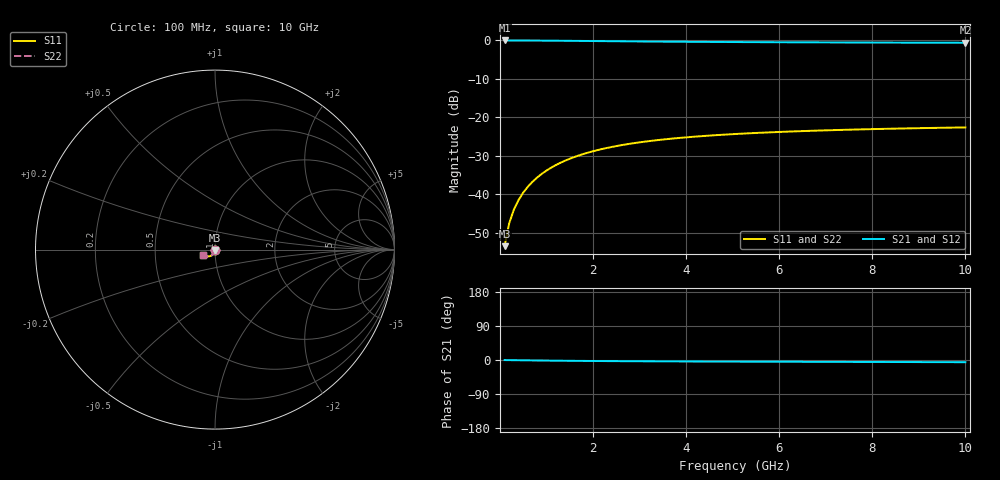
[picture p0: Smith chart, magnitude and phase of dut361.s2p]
! Touchstone file exported from HFSS 2024.1.0
!  File:  C:/UserFiles/LocalFiles/RDL_TSV_Batchsim/temp_TSV1_361_1779621059.aedt
!  Generated:  07:16:02 PM May 24, 2026
!  Design:  TSV1
!  Project:  temp_TSV1_361_1779621059
!  Setup:  Setup1
!  Solution:  Sweep
! Variables:
!  dtsv = 14.92um
!  hbump = 3um
!  htsv = 86.85um
!  lrdl = 252.1521522um
!  p = 40
!  p1 = 47.5um
!  t = 500um
!  trdl = 3um
!  wrdl = 24.89489489um
# GHz S MA R 50.000000
! Terminal data exported
! Port[1] = TSV22_T1
! Port[2] = TSV22_T2
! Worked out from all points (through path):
!   100 points, 100 MHz to 10 GHz, reference 50 ohm
!   highest |S21| = 0.00 dB at 100 MHz (marker M1); lowest = -0.6 dB at 10 GHz (marker M2)
!   lowest |S11| = -53.5 dB at 100 MHz (marker M3), VSWR 1.00, Z = 50 - j0.211 ohm
!   |S11| at or under -10 dB: start of sweep to end of sweep
!   |S22| runs from -53.5 to -22.6 dB; largest |S21 - S12| = 9.6e-15
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0.1  0.002106 -89.3  0.9998 -0.2  0.9998 -0.2  0.002106 -89.3
! Gamma 0 0 0 0
! Port Impedance 50 0 50 0
0.2  0.004212 -92.0  0.9996 -0.3  0.9996 -0.3  0.004212 -92.0
0.3  0.006315 -93.9  0.9993 -0.5  0.9993 -0.5  0.006315 -93.9
0.4  0.008406 -95.8  0.9989 -0.6  0.9989 -0.6  0.008406 -95.8
0.5  0.01047 -97.6  0.9983 -0.8  0.9983 -0.8  0.01047 -97.6
0.6  0.01251 -99.3  0.9977 -0.9  0.9977 -0.9  0.01251 -99.3
0.7  0.01452 -100.9  0.9969 -1.1  0.9969 -1.1  0.01452 -100.9
0.8  0.01649 -102.6  0.9961 -1.2  0.9961 -1.2  0.01649 -102.6
0.9  0.01841 -104.2  0.9952 -1.4  0.9952 -1.4  0.01841 -104.2
1.1  0.02211 -107.3  0.9932 -1.6  0.9932 -1.6  0.02211 -107.3
1.4  0.02729 -111.6  0.9899 -2.0  0.9899 -2.0  0.02729 -111.6
1.6  0.03047 -114.3  0.9875 -2.2  0.9875 -2.2  0.03047 -114.3
1.8  0.03344 -116.8  0.985 -2.4  0.985 -2.4  0.03344 -116.8
2.1  0.03749 -120.3  0.9813 -2.7  0.9813 -2.7  0.03749 -120.3
2.5  0.04223 -124.5  0.9764 -3.0  0.9764 -3.0  0.04224 -124.5
2.9  0.0463 -128.2  0.9718 -3.3  0.9718 -3.3  0.0463 -128.2
3.4  0.05061 -132.1  0.9666 -3.5  0.9666 -3.5  0.05061 -132.1
4.2  0.0561 -137.3  0.9595 -3.9  0.9595 -3.9  0.0561 -137.3
5.1  0.06082 -141.9  0.9529 -4.2  0.9529 -4.2  0.06082 -141.9
6.7  0.06679 -147.9  0.9443 -4.8  0.9443 -4.8  0.06679 -147.9
8.4  0.07106 -152.6  0.9378 -5.3  0.9378 -5.3  0.07106 -152.6
10  0.07389 -155.9  0.9334 -5.8  0.9334 -5.8  0.07389 -155.9
